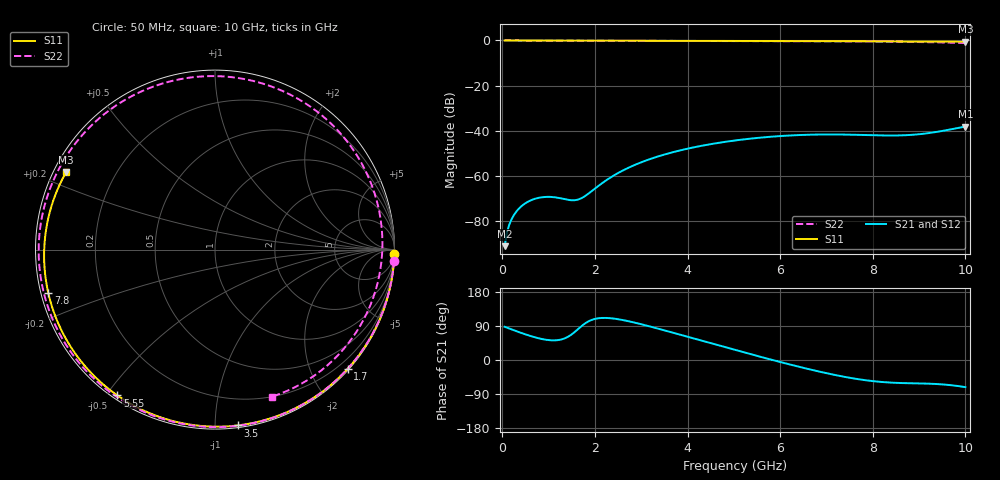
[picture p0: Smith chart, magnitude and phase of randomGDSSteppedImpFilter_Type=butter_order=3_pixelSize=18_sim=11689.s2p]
! freq	dB(S11)	phase(S11)	dB(S12)	phase(S12)
!  dB(S21)	phase(S21)	dB(S22)	phase(S22)
!S-par simulation data
#  GHz  S  DB  R 50
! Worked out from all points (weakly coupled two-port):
!   200 points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, 50 MHz to 10 GHz, reference 50 ohm
!   highest |S21| = -38.03 dB at 10 GHz (marker M1); lowest = -90.9 dB at 50 MHz (marker M2)
!   lowest |S11| = -0.6 dB at 10 GHz (marker M3), VSWR 29.87, Z = 1.77 + j12.2 ohm
!   |S11| at or under -10 dB: nowhere
!   |S22| runs from -1.1 to 0.0 dB; largest |S21 - S12| = 0
!   S11 on the Smith chart (normalised r, x): 50 MHz: 0, -90; 1.7 GHz: 0.02, -2.61; 3.5 GHz: 0.01, -1.14; 5.55 GHz: 0.01, -0.53; 7.8 GHz: 0.02, -0.13; 10 GHz: 0.04, +0.24
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0.05  -0.00 -1.3  -90.92 87.7  -90.92 87.7  -0.00 -3.5
0.15  -0.01 -3.8  -81.46 83.0  -81.46 83.0  -0.01 -10.5
0.5  -0.02 -12.6  -71.92 67.6  -71.92 67.6  -0.05 -34.3
0.9  -0.03 -22.5  -69.20 54.3  -69.20 54.3  -0.07 -59.8
1.3  -0.04 -32.3  -69.93 55.1  -69.93 55.1  -0.09 -82.9
1.7  -0.05 -41.9  -69.80 88.4  -69.80 88.4  -0.11 -103.4
1.75  -0.05 -43.1  -69.25 93.3  -69.25 93.3  -0.11 -105.8
2.55  -0.08 -61.7  -58.04 106.6  -58.04 106.6  -0.13 -139.9
3.4  -0.10 -80.5  -51.03 81.5  -51.03 81.5  -0.15 -169.9
3.5  -0.11 -82.7  -50.42 78.2  -50.42 78.2  -0.15 -173.2
4.25  -0.13 -98.3  -46.77 52.7  -46.77 52.7  -0.17 163.1
5.05  -0.17 -114.2  -44.14 25.7  -44.14 25.7  -0.21 138.6
5.55  -0.19 -123.8  -42.99 9.2  -42.99 9.2  -0.23 123.0
6.15  -0.23 -135.1  -42.06 -10.0  -42.06 -10.0  -0.27 103.5
6.7  -0.27 -145.3  -41.62 -26.5  -41.62 -26.5  -0.31 84.4
7.25  -0.31 -155.4  -41.55 -41.2  -41.55 -41.2  -0.36 63.9
7.8  -0.36 -165.5  -41.79 -52.7  -41.79 -52.7  -0.43 41.6
8.35  -0.41 -175.6  -42.02 -59.4  -42.02 -59.4  -0.52 17.3
8.75  -0.45 176.9  -41.83 -61.2  -41.83 -61.2  -0.62 -1.7
9.15  -0.49 169.2  -41.10 -62.2  -41.10 -62.2  -0.75 -21.9
9.55  -0.53 161.5  -39.82 -64.8  -39.82 -64.8  -0.91 -43.3
10  -0.58 152.4  -38.03 -71.6  -38.03 -71.6  -1.13 -68.9
